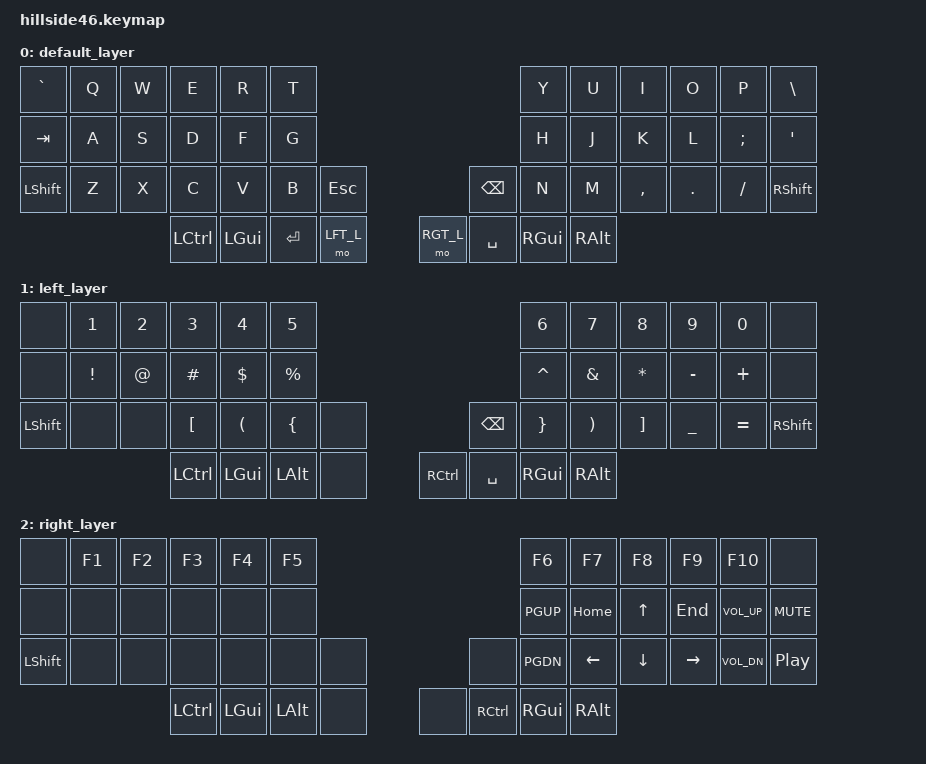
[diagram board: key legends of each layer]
/*
 * Copyright (c) 2021-2022 The ZMK Contributors
 *
 * SPDX-License-Identifier: MIT
 */

#include <behaviors.dtsi>
#include <dt-bindings/zmk/bt.h>
#include <dt-bindings/zmk/ext_power.h>
#include <dt-bindings/zmk/keys.h>
#include <dt-bindings/zmk/outputs.h>

#define QWERTY_L 0
#define LFT_L    1
#define RGT_L    2
// #define ADJ_L    3

#define Copy   LG(C)
#define Cut    LG(X)
#define Paste  LG(V)
#define Redo   LG(Y)
#define Undo   LG(Z)


/ {
        keymap {
                compatible = "zmk,keymap";

// QWERTY
// ---------------------------------------------------------------------------------------------------
// |  `  |  Q  |  W  |  E  |  R  |  T  |-------------------------|  Y  |  U  |  I  |  O  |  P  |  \  |
// | TAB |  A  |  S  |  D  |  F  |  G  |-------------------------|  H  |  J  |  K  |  L  |  ;  |  '  |
// |SHIFT|  Z  |  X  |  C  |  V  |  B  | ESC |-------------|BKSPC|  N  |  M  |  ,  |  .  |  /  |SHIFT|
//                         |CTRL | GUI |ENTER|LeftL|||RightL|SPACE| GUI | ALT |

                default_layer {
                        bindings = <
&kp GRAVE  &kp Q  &kp W  &kp E  &kp R  &kp T                                               &kp Y  &kp U  &kp I      &kp O    &kp P      &kp BSLH
&kp TAB    &kp A  &kp S  &kp D  &kp F  &kp G                                               &kp H  &kp J  &kp K      &kp L    &kp SEMI   &kp SQT
&kp LSHIFT  &kp Z  &kp X  &kp C  &kp V  &kp B  &kp ESC                          &kp BSPC   &kp N  &kp M  &kp COMMA  &kp DOT  &kp SLASH  &kp RSHIFT
                        &kp LCTRL  &kp LGUI  &kp ENTER  &mo LFT_L    &mo RGT_L  &kp SPACE  &kp RGUI  &kp RALT
                        >;
                };

// LEFT
// -----------------------------------------------------------------------------------------------------
// |     |  1  |  2  |  3  |  4  |  5  |---------------------------|  6  |  7  |  8  |  9  |  0  |     |
// |     |  !  |  @  |  #  |  $  |  %  |---------------------------|  ^  |  &  |  *  |  -  |  +  |     |
// |SHIFT|     |     |  [  |  (  |  {  |     |---------------|BKSPC|  }  |  )  |  ]  |  _  |  =  |SHIFT|
//                         |CTRL | GUI | ALT |     |---|CTRL |SPACE| GUI | ALT |

                left_layer {
                        bindings = <
&none     &kp N1   &kp N2  &kp N3    &kp N4      &kp N5                       &kp N6     &kp N7    &kp N8    &kp N9     &kp N0  &none
&none     &kp EXCL &kp AT  &kp HASH  &kp DOLLAR  &kp PRCNT                    &kp CARET  &kp AMPS  &kp STAR  &kp MINUS  &kp PLUS  &none
&kp LSHIFT  &none  &none  &kp LBKT  &kp LPAR  &kp LBRC  &none      &kp BSPC  &kp RBRC   &kp RPAR  &kp RBKT  &kp UNDER  &kp EQUAL &kp RSHIFT
                              &kp LCTRL  &kp LGUI  &kp LALT  &none   &kp RCTRL  &kp SPACE  &kp RGUI  &kp RALT
                        >;
                };

// RIGHT
// ------------------------------------------------------------------------------------------------
// |     | F1  | F2  | F3  | F4  | F5  |----------------------| F6  | F7  | F8  | F9  | F0  |     |
// |     |     |     |     |     |     |----------------------|PG UP|HOME | Up  | END |Vol+ |Mute |
// |SHIFT|     |     |     |     |     |     |----------|     |PG DN|Left |Down |Right|Vol- |Play |
//                       |CTRL | GUI | ALT |     |--|     | CTRL | GUI | ALT |

                right_layer {
                        bindings = <
&none  &kp F1  &kp F2  &kp F3  &kp F4  &kp F5                        &kp F6    &kp F7    &kp F8    &kp F9   &kp F10        &none
&none  &none   &none   &none   &none   &none                         &kp PGUP  &kp HOME  &kp UP    &kp END  &kp C_VOL_UP   &kp C_MUTE
&kp LSHIFT  &none   &none   &none   &none   &none  &none       &none  &kp PGDN  &kp LEFT  &kp DOWN  &kp RIGHT  &kp C_VOL_DN  &kp C_PP
                       &kp LCTRL  &kp LGUI  &kp LALT  &none   &none  &kp RCTL   &kp RGUI  &kp RALT
                        >;
                };
        };
};

//                 adj_layer {
// /* ADJUST
//  * -------------------------------------------------------------------------------------------------------------------------------------
//  * |       | QWERTY| DVORAK| COLEMK|       |       |-----------------------------------|       |  F11  |  F12  |Prt Scr|EP_OFF | EP_ON |
//  * | RESET | BT 0  | BT 1  | BT 2  | BT 3  | BT 4  |-----------------------------------|       |       |       |       |       | RESET |
//  * |       | LGUI  | LALT  | LCTRL | LSHIFT|       |BT CLR |-------------------|       |       |       |OUT_USB|OUT_BLE|       | BOOTL |
//  *                                 |       |       |       |       |---|       |       |       |       |
//  */
//                         bindings = <
// &none         &to  QWERTY_L &to  DVORAK_L &to  COLEMK_L &none         &none                                                                             &none             &kp   F11          &kp   F12  &kp PRINTSCREEN   &ext_power EP_OFF  &ext_power EP_ON
// &sys_reset    &bt  BT_SEL 0 &bt  BT_SEL 1 &bt  BT_SEL 2 &bt  BT_SEL 3 &bt  BT_SEL 4                                                                     &none             &none              &none            &none          &none           &sys_reset
// &none         &kp  LGUI     &kp  LALT     &kp  LCTRL    &kp LSHIFT    &none         &bt BT_CLR                                         &none            &none             &none              &out  OUT_USB    &out  OUT_BLE  &none           &bootloader
//                                                         &trans        &trans        &trans        &trans                 &trans        &trans           &trans            &trans
//                         >;
//                 };
//         };
